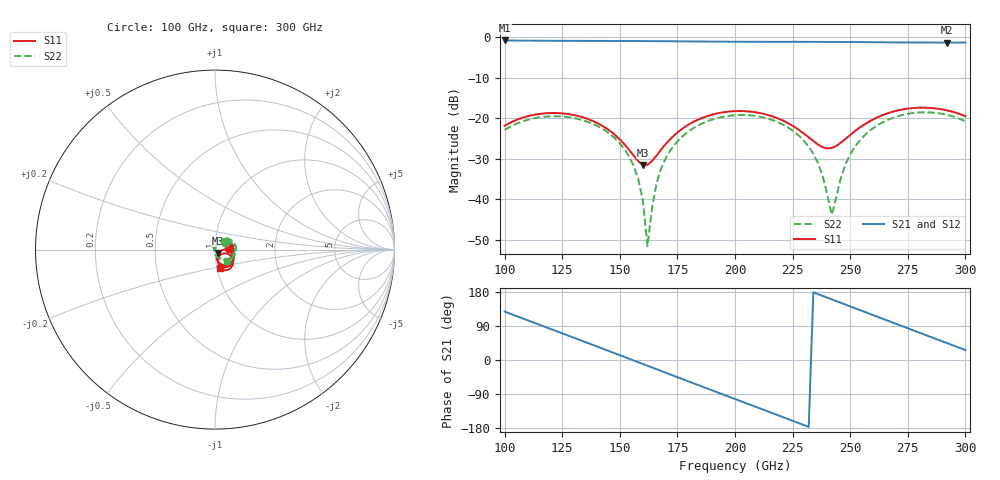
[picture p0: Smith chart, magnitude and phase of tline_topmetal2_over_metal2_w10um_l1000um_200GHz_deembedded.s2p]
! Created with skrf 2.0.1 (http://scikit-rf.org).
# GHz S DB R 50.0
!freq dBS11 angS11 dBS21 angS21 dBS12 angS12 dBS22 angS22
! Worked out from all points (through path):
!   101 points, 100 GHz to 300 GHz, reference 50 ohm
!   highest |S21| = -0.77 dB at 100 GHz (marker M1); lowest = -1.3 dB at 292 GHz (marker M2)
!   group delay of S21, straight-line fit = 6.42 ps
!   lowest |S11| = -31.5 dB at 160 GHz (marker M3), VSWR 1.05, Z = 51.8 - j2.02 ohm
!   |S11| at or under -10 dB: start of sweep to end of sweep
!   |S22| runs from -51.6 to -18.5 dB; largest |S21 - S12| = 1e-13
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100  -21.86 8.0  -0.77 127.8  -0.77 127.8  -22.90 35.7
116  -18.88 -22.9  -0.84 91.0  -0.84 91.0  -19.72 5.3
134  -19.78 -57.6  -0.88 49.7  -0.88 49.7  -20.51 -31.1
152  -26.45 -77.2  -0.90 8.0  -0.90 8.0  -27.64 -67.2
156  -29.26 -69.7  -0.91 -1.2  -0.91 -1.2  -31.76 -73.7
160  -31.53 -47.3  -0.92 -10.5  -0.92 -10.5  -40.36 -73.0
162  -31.52 -31.8  -0.93 -15.2  -0.93 -15.2  -51.64 -22.9
164  -30.59 -18.3  -0.94 -19.8  -0.94 -19.8  -42.12 65.4
168  -27.72 -4.1  -0.95 -29.1  -0.95 -29.1  -32.33 69.1
180  -21.52 -7.6  -1.01 -56.9  -1.01 -56.9  -23.20 46.8
190  -19.13 -23.0  -1.05 -79.9  -1.05 -79.9  -20.35 25.5
200  -18.25 -40.3  -1.09 -102.8  -1.09 -102.8  -19.27 3.6
220  -20.38 -71.3  -1.11 -148.9  -1.11 -148.9  -21.35 -42.0
234  -25.65 -71.1  -1.12 178.7  -1.12 178.7  -28.80 -79.6
238  -27.16 -58.8  -1.12 169.4  -1.12 169.4  -34.18 -97.7
242  -27.35 -41.1  -1.13 160.1  -1.13 160.1  -43.86 -172.6
246  -26.02 -26.7  -1.14 150.8  -1.14 150.8  -34.62 103.1
252  -23.22 -18.6  -1.17 136.8  -1.17 136.8  -27.08 77.4
268  -18.47 -31.7  -1.24 99.8  -1.24 99.8  -20.03 35.6
280  -17.40 -49.3  -1.28 72.2  -1.28 72.2  -18.59 6.5
292  -18.06 -66.3  -1.29 44.6  -1.29 44.6  -19.15 -22.9
300  -19.50 -74.8  -1.29 26.2  -1.29 26.2  -20.79 -43.6
